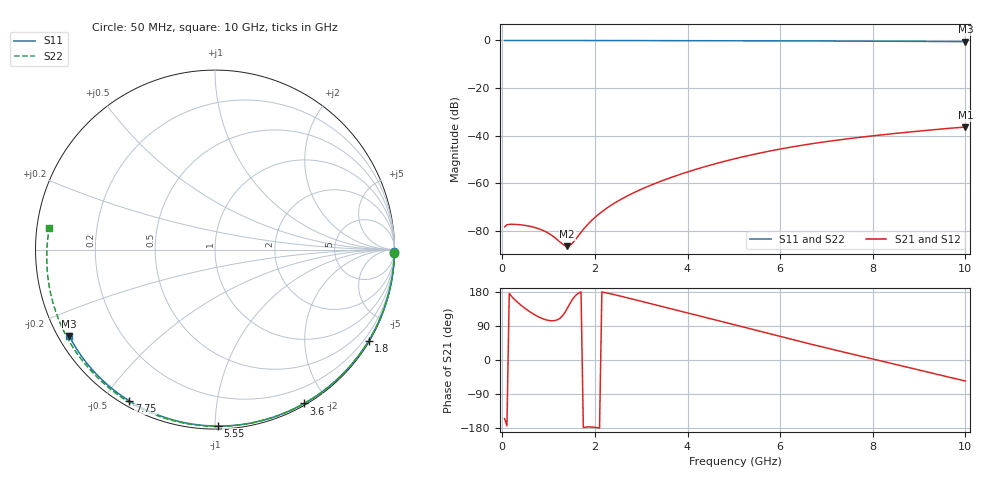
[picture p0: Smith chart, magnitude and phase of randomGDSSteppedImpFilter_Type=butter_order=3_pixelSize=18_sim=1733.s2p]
! freq	dB(S11)	phase(S11)	dB(S12)	phase(S12)
!  dB(S21)	phase(S21)	dB(S22)	phase(S22)
!S-par simulation data
#  GHz  S  DB  R 50
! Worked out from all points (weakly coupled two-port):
!   200 points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, 50 MHz to 10 GHz, reference 50 ohm
!   highest |S21| = -36.42 dB at 10 GHz (marker M1); lowest = -86.4 dB at 1.4 GHz (marker M2)
!   lowest |S11| = -0.5 dB at 10 GHz (marker M3), VSWR 34.53, Z = 1.56 - j13.7 ohm
!   |S11| at or under -10 dB: nowhere
!   |S22| runs from -0.6 to 0.0 dB; largest |S21 - S12| = 0
!   S11 on the Smith chart (normalised r, x): 50 MHz: open; 1.8 GHz: 0.03, -3.64; 3.6 GHz: 0.02, -1.73; 5.55 GHz: 0.02, -1.01; 7.75 GHz: 0.02, -0.58; 10 GHz: 0.03, -0.27
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0.05  -0.00 -0.9  -78.35 -154.9  -78.35 -154.9  -0.00 -1.0
0.1  -0.00 -1.7  -77.44 -173.9  -77.44 -173.9  -0.00 -2.1
0.3  -0.00 -5.2  -77.32 155.5  -77.32 155.5  -0.00 -6.2
0.65  -0.01 -11.3  -78.32 122.9  -78.32 122.9  -0.01 -13.4
0.9  -0.02 -15.5  -80.02 107.8  -80.02 107.8  -0.02 -18.5
1.4  -0.03 -24.0  -86.45 135.5  -86.45 135.5  -0.04 -28.5
1.7  -0.04 -29.1  -80.61 179.8  -80.61 179.8  -0.04 -34.5
1.75  -0.04 -29.9  -79.41 -178.3  -79.41 -178.3  -0.04 -35.5
1.8  -0.04 -30.8  -78.27 -177.2  -78.27 -177.2  -0.05 -36.5
2.1  -0.05 -35.7  -72.73 -179.4  -72.73 -179.4  -0.05 -42.4
2.45  -0.05 -41.5  -68.04 171.5  -68.04 171.5  -0.06 -49.2
2.9  -0.06 -48.8  -63.43 158.0  -63.43 158.0  -0.07 -57.9
3.4  -0.08 -56.8  -59.33 142.7  -59.33 142.7  -0.09 -67.3
3.6  -0.08 -59.9  -57.89 136.6  -57.89 136.6  -0.10 -71.1
4.3  -0.10 -70.7  -53.46 115.1  -53.46 115.1  -0.12 -83.9
5.05  -0.13 -81.9  -49.56 91.8  -49.56 91.8  -0.15 -97.3
5.55  -0.15 -89.2  -47.36 76.2  -47.36 76.2  -0.17 -106.1
6.7  -0.21 -105.3  -43.35 40.7  -43.35 40.7  -0.25 -126.1
7.75  -0.28 -119.5  -40.63 9.9  -40.63 9.9  -0.34 -144.3
8.35  -0.33 -127.5  -39.34 -7.4  -39.34 -7.4  -0.40 -155.1
9.2  -0.41 -138.8  -37.71 -32.4  -37.71 -32.4  -0.51 -171.1
10  -0.50 -149.4  -36.42 -55.3  -36.42 -55.3  -0.62 172.7
